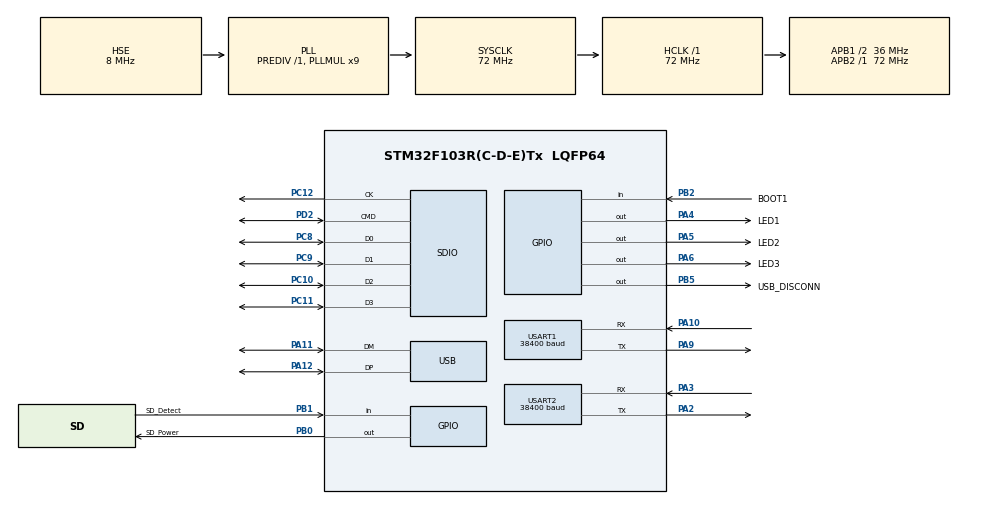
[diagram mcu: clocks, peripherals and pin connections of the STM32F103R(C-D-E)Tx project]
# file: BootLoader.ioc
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Mcu.Family=STM32F1
Mcu.Name=STM32F103R(C-D-E)Tx
Mcu.Package=LQFP64
NVIC.PriorityGroup=NVIC_PRIORITYGROUP_4
NVIC.TIM6_IRQn=true\:0\:0\:false\:false\:true\:true\:true
NVIC.USART1_IRQn=true\:0\:0\:false\:false\:true\:true\:true
NVIC.USART2_IRQn=true\:0\:0\:false\:false\:true\:true\:true
NVIC.USB_LP_CAN1_RX0_IRQn=true\:0\:0\:true\:false\:true\:true\:true
PA10.Mode=Asynchronous
PA10.Signal=USART1_RX
PA11.Mode=Device
PA11.Signal=USB_DM
PA12.Mode=Device
PA12.Signal=USB_DP
PA13.Mode=Serial_Wire
PA13.Signal=SYS_JTMS-SWDIO
PA14.Mode=Serial_Wire
PA14.Signal=SYS_JTCK-SWCLK
PA2.Mode=Asynchronous
PA2.Signal=USART2_TX
PA3.Mode=Asynchronous
PA3.Signal=USART2_RX
PA4.GPIO_Label=LED1
PA4.PinState=GPIO_PIN_RESET
PA4.Signal=GPIO_Output
PA5.GPIO_Label=LED2
PA5.Signal=GPIO_Output
PA6.GPIO_Label=LED3
PA6.Signal=GPIO_Output
PA9.Mode=Asynchronous
PA9.Signal=USART1_TX
PB0.GPIO_Label=SD_Power
PB0.PinState=GPIO_PIN_SET
PB0.Signal=GPIO_Output
PB1.GPIO_Label=SD_Detect
PB1.Signal=GPIO_Input
PB2.GPIO_Label=BOOT1
PB2.GPIO_PuPd=GPIO_PULLUP
PB2.Signal=GPIO_Input
PB5.GPIO_Label=USB_DISCONN
PB5.Signal=GPIO_Output
PC10.Mode=SD_4_bits_Wide_bus
PC10.Signal=SDIO_D2
PC11.Mode=SD_4_bits_Wide_bus
PC11.Signal=SDIO_D3
PC12.Mode=SD_4_bits_Wide_bus
PC12.Signal=SDIO_CK
PC14-OSC32_IN.Mode=LSE-External-Oscillator
PC14-OSC32_IN.Signal=RCC_OSC32_IN
PC15-OSC32_OUT.Mode=LSE-External-Oscillator
PC15-OSC32_OUT.Signal=RCC_OSC32_OUT
PC8.Mode=SD_4_bits_Wide_bus
PC8.Signal=SDIO_D0
PC9.Mode=SD_4_bits_Wide_bus
PC9.Signal=SDIO_D1
PD0-OSC_IN.Mode=HSE-External-Oscillator
PD0-OSC_IN.Signal=RCC_OSC_IN
PD1-OSC_OUT.Mode=HSE-External-Oscillator
PD1-OSC_OUT.Signal=RCC_OSC_OUT
PD2.Mode=SD_4_bits_Wide_bus
PD2.Signal=SDIO_CMD
ProjectManager.HeapSize=0x1000
ProjectManager.StackSize=0x400
ProjectManager.TargetToolchain=STM32CubeIDE
RCC.AHBFreq_Value=72000000
RCC.APB1CLKDivider=RCC_HCLK_DIV2
RCC.APB1Freq_Value=36000000
RCC.APB1TimFreq_Value=72000000
RCC.APB2Freq_Value=72000000
RCC.APB2TimFreq_Value=72000000
RCC.HCLKFreq_Value=72000000
RCC.PLLMUL=RCC_PLL_MUL9
RCC.RTCClockSelection=RCC_RTCCLKSOURCE_LSE
RCC.SYSCLKFreq_VALUE=72000000
RCC.SYSCLKSource=RCC_SYSCLKSOURCE_PLLCLK
RCC.USBFreq_Value=48000000
RCC.USBPrescaler=RCC_USBCLKSOURCE_PLL_DIV1_5
TIM6.AutoReloadPreload=TIM_AUTORELOAD_PRELOAD_ENABLE
TIM6.Period=3599
TIM6.Prescaler=9999
USART1.BaudRate=38400
USART1.VirtualMode=VM_ASYNC
USART2.BaudRate=38400
USART2.VirtualMode=VM_ASYNC
USB_DEVICE.CLASS_NAME_FS=DFU
USB_DEVICE.USBD_DFU_APP_DEFAULT_ADD=0x0800C000
USB_DEVICE.USBD_DFU_XFER_SIZE=2048
USB_DEVICE.VirtualMode=Dfu
USB_DEVICE.VirtualModeFS=Dfu_FS
VP_CRC_VS_CRC.Mode=CRC_Activate
VP_TIM6_VS_ClockSourceINT.Mode=Enable_Timer
VP_USB_DEVICE_VS_USB_DEVICE_DFU_FS.Mode=DFU_FS
board=custom

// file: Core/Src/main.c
/* USER CODE BEGIN Header */
/**
  ******************************************************************************
  * @file           : main.c
  * @brief          : Main program body
  ******************************************************************************
  * @attention
  *
  * <h2><center>&copy; Copyright (c) 2021 STMicroelectronics.
  * All rights reserved.</center></h2>
  *
  * This software component is licensed by ST under Ultimate Liberty license
  * SLA0044, the "License"; You may not use this file except in compliance with
  * the License. You may obtain a copy of the License at:
  *                             www.st.com/SLA0044
  *
  ******************************************************************************
  */
/* USER CODE END Header */
#include "main.h"
#include "usb_device.h"

/* USER CODE BEGIN PD */

#define ADDR_APP_SIZE       0x0000001C  //смещение для значения размера приложения
#define ADDR_APP_CRC        0x00000020  //смещение для значения контрольной суммы

/* USER CODE END PD */

CRC_HandleTypeDef hcrc;

SD_HandleTypeDef hsd;

TIM_HandleTypeDef htim6;

UART_HandleTypeDef huart1;
UART_HandleTypeDef huart2;

/* USER CODE BEGIN PV */
typedef void (*pFunction)(void);
pFunction JumpToApplication;
uint32_t JumpAddress, Address;
/* USER CODE END PV */

void SystemClock_Config(void);
static void MX_GPIO_Init(void);
static void MX_SDIO_SD_Init(void);
static void MX_USART1_UART_Init(void);
static void MX_USART2_UART_Init(void);
static void MX_TIM6_Init(void);
static void MX_CRC_Init(void);

/* USER CODE BEGIN 0 */

uint32_t AddrAppBegin = USBD_DFU_APP_DEFAULT_ADD;
uint32_t AddrAppEnd = 0x00;
uint32_t AddrAppSize, AddrAppCrc, AppSize, AppCrc, ValueSp;

/* USER CODE END 0 */

int main( void ) {

    /* USER CODE BEGIN 1 */
    uint32_t crc_flash;
    char *ptr, str[160];
    /* USER CODE END 1 */

    /* MCU Configuration--------------------------------------------------------*/

    /* Reset of all peripherals, Initializes the Flash interface and the Systick. */
    HAL_Init();

    /* Configure the system clock */
    SystemClock_Config();

    /* USER CODE BEGIN SysInit */
    AddrAppSize = USBD_DFU_APP_DEFAULT_ADD + ADDR_APP_SIZE;
    AddrAppCrc = USBD_DFU_APP_DEFAULT_ADD + ADDR_APP_CRC;
    AppSize = *(__IO uint32_t*) ( USBD_DFU_APP_DEFAULT_ADD + ADDR_APP_SIZE);
    AppCrc = *(__IO uint32_t*) ( USBD_DFU_APP_DEFAULT_ADD + ADDR_APP_CRC);
    AddrAppEnd = USBD_DFU_APP_DEFAULT_ADD + AppSize;
    if ( (int32_t)AppSize < 0 )
        AddrAppEnd = USBD_DFU_APP_DEFAULT_ADD + 0x00060000;
    ValueSp = *(__IO uint32_t*) USBD_DFU_APP_DEFAULT_ADD;
    /* USER CODE END SysInit */

    /* Initialize all configured peripherals */
    MX_GPIO_Init();
    MX_SDIO_SD_Init();
    MX_USB_DEVICE_Init();
    MX_USART1_UART_Init();
    MX_USART2_UART_Init();
    MX_TIM6_Init();
    MX_CRC_Init();

    /* USER CODE BEGIN 2 */
    HAL_GPIO_WritePin( LED2_GPIO_Port, LED1_Pin, GPIO_PIN_SET );
    ptr = str;
    ptr += sprintf( ptr, "\rApplication address: 0x%08X\r", (unsigned)AddrAppBegin );
    ptr += sprintf( ptr, "Application size:    0x%08X => 0x%08X (%d)\r", (unsigned)AddrAppSize, (unsigned)AppSize, (unsigned)AppSize );
    ptr += sprintf( ptr, "Application CRC:     0x%08X => 0x%08X\r", (unsigned)AddrAppCrc, (unsigned)AppCrc );
    HAL_UART_Transmit( &huart2, (uint8_t*) str, strlen( str ), HAL_MAX_DELAY );

    if ( (int32_t)AppSize > 0 ) {
        ptr = str;
        HAL_CRC_Calculate( &hcrc, (uint32_t*) USBD_DFU_APP_DEFAULT_ADD, ADDR_APP_SIZE / sizeof(uint32_t) );
        crc_flash = HAL_CRC_Accumulate( &hcrc, (uint32_t*) USBD_DFU_APP_DEFAULT_ADD + ADDR_APP_CRC / sizeof(uint32_t) + 1, (AppSize / sizeof(uint32_t)) - 9 );
        ptr += sprintf( ptr, "\rCalculate CRC: 0x%08X-0x%08X, ", USBD_DFU_APP_DEFAULT_ADD, USBD_DFU_APP_DEFAULT_ADD + ADDR_APP_SIZE - 1 );
        ptr += sprintf( ptr, "0x%08X-0x%08X = 0x%08X\r", (unsigned)( USBD_DFU_APP_DEFAULT_ADD + ADDR_APP_CRC + sizeof(uint32_t) ),
                (unsigned)( USBD_DFU_APP_DEFAULT_ADD + AppSize - ADDR_APP_CRC + sizeof(uint32_t) ), (unsigned)crc_flash );
        HAL_UART_Transmit( &huart2, (uint8_t*) str, strlen( str ), HAL_MAX_DELAY );
    }
    //Check if the KEY Button is pressed
    if ( HAL_GPIO_ReadPin( BOOT1_GPIO_Port, BOOT1_Pin ) == GPIO_PIN_RESET ) {
        //Test if user code is programmed starting from address 0x0800C000
        if ( (ValueSp & 0x2FFE0000) == 0x20000000 && (int32_t)AppSize > 0 && AppCrc == crc_flash ) {
            sprintf( str, "Checksum - OK\r" );
            HAL_UART_Transmit( &huart2, (uint8_t*)str, strlen( str ), HAL_MAX_DELAY );
            HAL_GPIO_WritePin( LED2_GPIO_Port, LED1_Pin, GPIO_PIN_RESET );
            /* Jump to user application */
            JumpAddress = *(__IO uint32_t*) ( USBD_DFU_APP_DEFAULT_ADD + 4);
            JumpToApplication = (pFunction) JumpAddress;
            sprintf( str, "Start application: 0x%08X\r", (unsigned)JumpAddress );
            HAL_UART_Transmit( &huart2, (uint8_t*) str, strlen( str ), HAL_MAX_DELAY );
            HAL_GPIO_WritePin( LED2_GPIO_Port, LED1_Pin, GPIO_PIN_RESET );
            //Initialize user application's Stack Pointer
            HAL_RCC_DeInit();
            HAL_DeInit();
            __set_MSP( *(__IO uint32_t*) USBD_DFU_APP_DEFAULT_ADD );
            JumpToApplication();
        }
        else {
            ptr = str;
            ptr += sprintf( ptr, "Application not found.\r" );
            ptr += sprintf( ptr, "\rDFU mode ...\r" );
            HAL_UART_Transmit( &huart2, (uint8_t*) str, strlen( str ), HAL_MAX_DELAY );
            HAL_TIM_Base_Start_IT( &htim6 );
        }
    }
    else {
        sprintf( str, "\rDFU mode ...\r" );
        HAL_UART_Transmit( &huart2, (uint8_t*) str, strlen( str ), HAL_MAX_DELAY );
        HAL_TIM_Base_Start_IT( &htim6 );
    }
    MX_USB_DEVICE_Init();
    /* USER CODE END 2 */

    /* Infinite loop */
    while ( 1 ) {

    }
}

void SystemClock_Config(void)
{
  RCC_OscInitTypeDef RCC_OscInitStruct = {0};
  RCC_ClkInitTypeDef RCC_ClkInitStruct = {0};
  RCC_PeriphCLKInitTypeDef PeriphClkInit = {0};

  /** Initializes the RCC Oscillators according to the specified parameters
  * in the RCC_OscInitTypeDef structure.
  */
  RCC_OscInitStruct.OscillatorType = RCC_OSCILLATORTYPE_HSE;
  RCC_OscInitStruct.HSEState = RCC_HSE_ON;
  RCC_OscInitStruct.HSEPredivValue = RCC_HSE_PREDIV_DIV1;
  RCC_OscInitStruct.HSIState = RCC_HSI_ON;
  RCC_OscInitStruct.PLL.PLLState = RCC_PLL_ON;
  RCC_OscInitStruct.PLL.PLLSource = RCC_PLLSOURCE_HSE;
  RCC_OscInitStruct.PLL.PLLMUL = RCC_PLL_MUL9;
  if (HAL_RCC_OscConfig(&RCC_OscInitStruct) != HAL_OK)
  {
    Error_Handler();
  }
  /** Initializes the CPU, AHB and APB buses clocks
  */
  RCC_ClkInitStruct.ClockType = RCC_CLOCKTYPE_HCLK|RCC_CLOCKTYPE_SYSCLK
                              |RCC_CLOCKTYPE_PCLK1|RCC_CLOCKTYPE_PCLK2;
  RCC_ClkInitStruct.SYSCLKSource = RCC_SYSCLKSOURCE_PLLCLK;
  RCC_ClkInitStruct.AHBCLKDivider = RCC_SYSCLK_DIV1;
  RCC_ClkInitStruct.APB1CLKDivider = RCC_HCLK_DIV2;
  RCC_ClkInitStruct.APB2CLKDivider = RCC_HCLK_DIV1;

  if (HAL_RCC_ClockConfig(&RCC_ClkInitStruct, FLASH_LATENCY_2) != HAL_OK)
  {
    Error_Handler();
  }
  PeriphClkInit.PeriphClockSelection = RCC_PERIPHCLK_USB;
  PeriphClkInit.UsbClockSelection = RCC_USBCLKSOURCE_PLL_DIV1_5;
  if (HAL_RCCEx_PeriphCLKConfig(&PeriphClkInit) != HAL_OK)
  {
    Error_Handler();
  }
}

static void MX_CRC_Init(void)
{

  hcrc.Instance = CRC;
  if (HAL_CRC_Init(&hcrc) != HAL_OK)
  {
    Error_Handler();
  }

}

static void MX_SDIO_SD_Init(void)
{

  hsd.Instance = SDIO;
  hsd.Init.ClockEdge = SDIO_CLOCK_EDGE_RISING;
  hsd.Init.ClockBypass = SDIO_CLOCK_BYPASS_DISABLE;
  hsd.Init.ClockPowerSave = SDIO_CLOCK_POWER_SAVE_DISABLE;
  hsd.Init.BusWide = SDIO_BUS_WIDE_1B;
  hsd.Init.HardwareFlowControl = SDIO_HARDWARE_FLOW_CONTROL_DISABLE;
  hsd.Init.ClockDiv = 0;
  if (HAL_SD_Init(&hsd) != HAL_OK)
  {
    Error_Handler();
  }
  if (HAL_SD_ConfigWideBusOperation(&hsd, SDIO_BUS_WIDE_4B) != HAL_OK)
  {
    Error_Handler();
  }

}

static void MX_TIM6_Init(void)
{

  TIM_MasterConfigTypeDef sMasterConfig = {0};

  htim6.Instance = TIM6;
  htim6.Init.Prescaler = 9999;
  htim6.Init.CounterMode = TIM_COUNTERMODE_UP;
  htim6.Init.Period = 3599;
  htim6.Init.AutoReloadPreload = TIM_AUTORELOAD_PRELOAD_ENABLE;
  if (HAL_TIM_Base_Init(&htim6) != HAL_OK)
  {
    Error_Handler();
  }
  sMasterConfig.MasterOutputTrigger = TIM_TRGO_RESET;
  sMasterConfig.MasterSlaveMode = TIM_MASTERSLAVEMODE_DISABLE;
  if (HAL_TIMEx_MasterConfigSynchronization(&htim6, &sMasterConfig) != HAL_OK)
  {
    Error_Handler();
  }

}

static void MX_USART1_UART_Init(void)
{

  huart1.Instance = USART1;
  huart1.Init.BaudRate = 38400;
  huart1.Init.WordLength = UART_WORDLENGTH_8B;
  huart1.Init.StopBits = UART_STOPBITS_1;
  huart1.Init.Parity = UART_PARITY_NONE;
  huart1.Init.Mode = UART_MODE_TX_RX;
  huart1.Init.HwFlowCtl = UART_HWCONTROL_NONE;
  huart1.Init.OverSampling = UART_OVERSAMPLING_16;
  if (HAL_UART_Init(&huart1) != HAL_OK)
  {
    Error_Handler();
  }

}

static void MX_USART2_UART_Init(void)
{

  huart2.Instance = USART2;
  huart2.Init.BaudRate = 38400;
  huart2.Init.WordLength = UART_WORDLENGTH_8B;
  huart2.Init.StopBits = UART_STOPBITS_1;
  huart2.Init.Parity = UART_PARITY_NONE;
  huart2.Init.Mode = UART_MODE_TX_RX;
  huart2.Init.HwFlowCtl = UART_HWCONTROL_NONE;
  huart2.Init.OverSampling = UART_OVERSAMPLING_16;
  if (HAL_UART_Init(&huart2) != HAL_OK)
  {
    Error_Handler();
  }

}

static void MX_GPIO_Init(void)
{
  GPIO_InitTypeDef GPIO_InitStruct = {0};

  /* GPIO Ports Clock Enable */
  __HAL_RCC_GPIOC_CLK_ENABLE();
  __HAL_RCC_GPIOD_CLK_ENABLE();
  __HAL_RCC_GPIOA_CLK_ENABLE();
  __HAL_RCC_GPIOB_CLK_ENABLE();

  /*Configure GPIO pin Output Level */
  HAL_GPIO_WritePin(GPIOA, LED1_Pin|LED2_Pin|LED3_Pin, GPIO_PIN_RESET);

  /*Configure GPIO pin Output Level */
  HAL_GPIO_WritePin(SD_Power_GPIO_Port, SD_Power_Pin, GPIO_PIN_SET);

  /*Configure GPIO pin Output Level */
  HAL_GPIO_WritePin(USB_DISCONN_GPIO_Port, USB_DISCONN_Pin, GPIO_PIN_RESET);

  /*Configure GPIO pins : LED1_Pin LED2_Pin LED3_Pin */
  GPIO_InitStruct.Pin = LED1_Pin|LED2_Pin|LED3_Pin;
  GPIO_InitStruct.Mode = GPIO_MODE_OUTPUT_PP;
  GPIO_InitStruct.Pull = GPIO_NOPULL;
  GPIO_InitStruct.Speed = GPIO_SPEED_FREQ_LOW;
  HAL_GPIO_Init(GPIOA, &GPIO_InitStruct);

  /*Configure GPIO pins : SD_Power_Pin USB_DISCONN_Pin */
  GPIO_InitStruct.Pin = SD_Power_Pin|USB_DISCONN_Pin;
  GPIO_InitStruct.Mode = GPIO_MODE_OUTPUT_PP;
  GPIO_InitStruct.Pull = GPIO_NOPULL;
  GPIO_InitStruct.Speed = GPIO_SPEED_FREQ_LOW;
  HAL_GPIO_Init(GPIOB, &GPIO_InitStruct);

  /*Configure GPIO pin : SD_Detect_Pin */
  GPIO_InitStruct.Pin = SD_Detect_Pin;
  GPIO_InitStruct.Mode = GPIO_MODE_INPUT;
  GPIO_InitStruct.Pull = GPIO_NOPULL;
  HAL_GPIO_Init(SD_Detect_GPIO_Port, &GPIO_InitStruct);

  /*Configure GPIO pin : BOOT1_Pin */
  GPIO_InitStruct.Pin = BOOT1_Pin;
  GPIO_InitStruct.Mode = GPIO_MODE_INPUT;
  GPIO_InitStruct.Pull = GPIO_PULLUP;
  HAL_GPIO_Init(BOOT1_GPIO_Port, &GPIO_InitStruct);

}

void Error_Handler(void)
{
}

/************************ (C) COPYRIGHT STMicroelectronics *****END OF FILE****/
